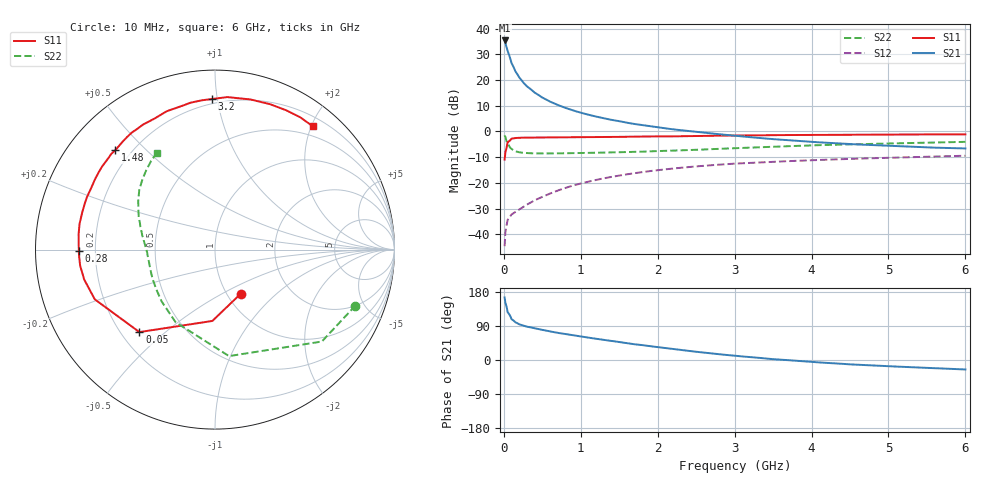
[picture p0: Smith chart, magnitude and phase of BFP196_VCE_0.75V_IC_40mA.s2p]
! Infineon Technologies  Discrete & RF Semiconductors
! BFP196
! VCE = 0.75V,  IC =  40mA
! Common Emitter S-Parameters:  Jan 2016
# GHz  S  MA  R  50
!  f  S11  S21  S12  S22
! GHz  MAG  ANG  MAG  ANG  MAG  ANG  MAG  ANG
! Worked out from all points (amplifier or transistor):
!   210 points, 10 MHz to 6 GHz, reference 50 ohm
!   highest |S21| = 35.4 dB at 10 MHz (marker M1)
!   |S21| within 3 dB of that: start of sweep to 38.97 MHz
!   unconditionally stable (mu >= 1): 407.3 MHz to end of sweep
!   at 185 MHz: K = 0.71, MSG = 26.2 dB, |S12| = -30.6 dB
!   at 1.52 GHz: K = 1.11, MAG = 8.4 dB, |S12| = -17.0 dB
!   at 6 GHz: K = 1.03, MAG = 0.4 dB, |S12| = -9.4 dB
!   S11 on the Smith chart (normalised r, x): 10 MHz: 1.16, -0.62; 50 MHz: 0.27, -0.41; 280 MHz: 0.14, -0.00; 1.48 GHz: 0.14, +0.41; 3.2 GHz: 0.17, +0.97; 6 GHz: 0.34, +2.02
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0.01  0.2847 -59.8  58.79 165.1  0.0059 75.8  0.8424 -21.7
0.02  0.3977 -92.1  53.08 151.1  0.011 66.5  0.7854 -40.7
0.05  0.6234 -132.5  36.57 125.8  0.0192 46.9  0.5985 -82.5
0.1  0.7248 -157.5  21.43 107.7  0.0243 41.0  0.4603 -118.5
0.15  0.7476 -167.1  14.79 99.4  0.0273 43.0  0.4144 -135.9
0.2  0.7566 -173.2  11.27 94.2  0.0305 46.0  0.3944 -146.2
0.24  0.7577 -176.6  9.445 91.5  0.0335 48.4  0.3869 -151.9
0.28  0.7586 -179.5  8.123 89.1  0.0364 50.5  0.3826 -156.0
0.3  0.7593 179.2  7.546 87.9  0.0379 51.5  0.381 -157.8
0.4  0.7647 173.4  5.705 83.4  0.0457 55.2  0.3754 -164.2
0.5  0.7681 169.3  4.563 79.5  0.0536 57.5  0.3746 -168.5
0.6  0.7684 165.1  3.81 75.4  0.0621 58.4  0.3744 -171.4
0.7  0.7696 161.0  3.282 71.6  0.071 59.2  0.376 -173.8
0.9  0.7701 154.0  2.56 65.3  0.0891 58.4  0.3784 -177.7
1.02  0.7751 149.5  2.276 61.6  0.0992 57.8  0.3819 -179.4
1.48  0.7852 135.1  1.606 48.0  0.1375 52.3  0.3946 174.7
2.02  0.8034 119.5  1.191 33.5  0.1783 44.4  0.4168 167.7
3.1  0.8367 93.1  0.8 9.4  0.2411 28.0  0.4786 153.0
3.2  0.8392 91.1  0.776 7.8  0.2452 26.6  0.485 151.7
4.1  0.8598 75.2  0.615 -6.4  0.2797 15.1  0.5426 140.4
5.1  0.8718 61.8  0.52 -17.3  0.3116 4.0  0.5884 130.0
6  0.8768 51.7  0.468 -25.0  0.3377 -6.0  0.6288 121.0
